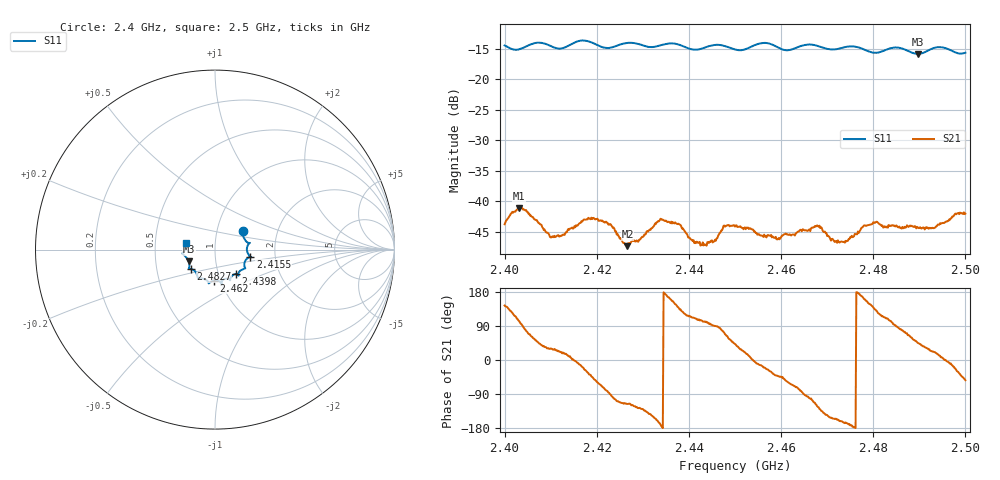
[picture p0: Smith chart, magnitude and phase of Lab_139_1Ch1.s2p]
# Hz S RI R 50
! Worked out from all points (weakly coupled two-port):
!   601 points, 2.4 GHz to 2.5 GHz, reference 50 ohm
!   highest |S21| = -41.07 dB at 2.4032 GHz (marker M1); lowest = -47.3 dB at 2.4267 GHz (marker M2)
!   lowest |S11| = -15.9 dB at 2.4897 GHz (marker M3), VSWR 1.38, Z = 36.9 - j4.87 ohm
!   |S11| at or under -10 dB: start of sweep to end of sweep
!   S12 and S22 are empty: the file has one direction only
!   S11 on the Smith chart (normalised r, x): 2.4 GHz: 1.33, +0.29; 2.4155 GHz: 1.49, -0.12; 2.4398 GHz: 1.21, -0.34; 2.462 GHz: 0.93, -0.33; 2.4827 GHz: 0.75, -0.17; 2.5 GHz: 0.72, +0.06
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2.4e9  0.1557 0.1061  -0.00526 0.00384  0 0  0 0
2.403167e9  0.1661 0.0558  -0.00187 0.00864  0 0  0 0
2.410167e9  0.1834 0.0251  0.00442 0.0025  0 0  0 0
2.4155e9  0.1974 -0.0392  0.00637 -0.000396  0 0  0 0
2.416667e9  0.2022 -0.0424  0.00661 -0.00193  0 0  0 0
2.4225e9  0.1653 -0.07  0.000498 -0.00646  0 0  0 0
2.426667e9  0.1686 -0.1031  -0.00189 -0.00387  0 0  0 0
2.433333e9  0.1299 -0.134  -0.00661 -0.00202  0 0  0 0
2.4375e9  0.1307 -0.1418  -0.00505 0.00413  0 0  0 0
2.439833e9  0.1154 -0.136  -0.00232 0.00452  0 0  0 0
2.443333e9  0.0874 -0.1579  -0.000902 0.00438  0 0  0 0
2.45e9  0.0647 -0.1623  0.00462 0.00418  0 0  0 0
2.456333e9  0.039 -0.1938  0.00504 -0.0018  0 0  0 0
2.462e9  -0.00549 -0.1732  0.00243 -0.00477  0 0  0 0
2.466667e9  -0.0349 -0.1881  -0.00159 -0.00589  0 0  0 0
2.473333e9  -0.0838 -0.1599  -0.00447 -0.00137  0 0  0 0
2.478333e9  -0.1001 -0.1405  -0.00587 0.00239  0 0  0 0
2.482667e9  -0.1345 -0.1086  -0.00224 0.00577  0 0  0 0
2.483333e9  -0.1396 -0.1084  -0.00179 0.00616  0 0  0 0
2.489667e9  -0.1472 -0.0642  0.00434 0.00435  0 0  0 0
2.494333e9  -0.1812 -0.0217  0.00632 0.00133  0 0  0 0
2.5e9  -0.1596 0.0389  0.00474 -0.00638  0 0  0 0
